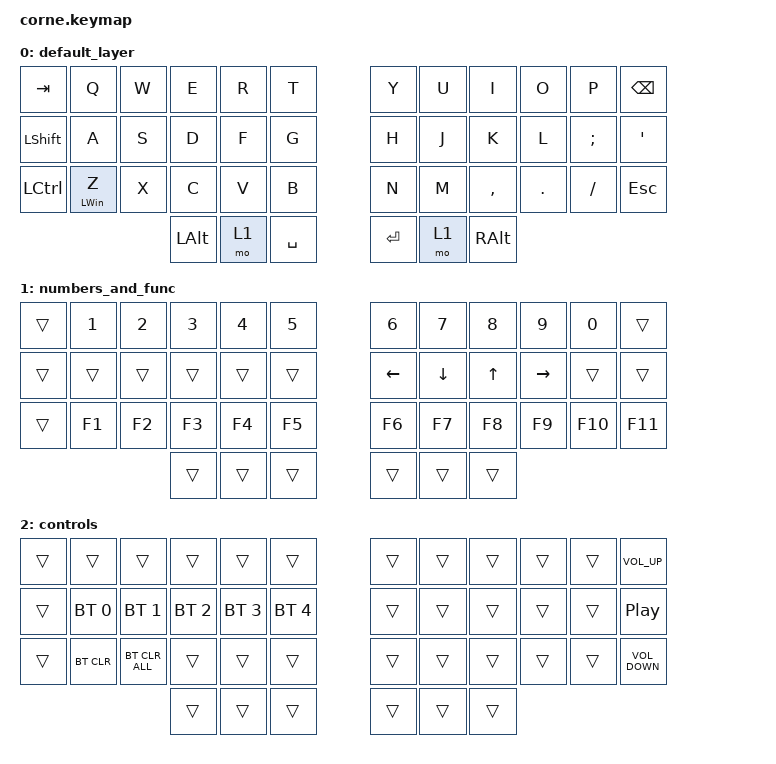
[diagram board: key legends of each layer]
/*
 * Copyright (c) 2020 The ZMK Contributors
 *
 * SPDX-License-Identifier: MIT
 */

#include <behaviors.dtsi>
#include <dt-bindings/zmk/bt.h>
#include <dt-bindings/zmk/keys.h>

/ {
    combos {
        compatible = "zmk,combos";

        combo_f12 {
            bindings = <&kp F12>;
            key-positions = <34 35>;
            timeout-ms = <50>;
            layers = <1>;
        };

        combo_left_bracket_and_curly {
            bindings = <&mt RA(LBKT) RA(APOSTROPHE)>;
            key-positions = <19 20>;
            timeout-ms = <50>;
        };

        combo_right_bracket_and_curly {
            bindings = <&mt RA(RBKT) RA(BACKSLASH)>;
            key-positions = <21 20>;
            timeout-ms = <50>;
        };

        combo_delete {
            bindings = <&kp DEL>;
            key-positions = <10 11>;
            timeout-ms = <50>;
        };

        combo_left_paren {
            bindings = <&kp LS(N8)>;
            key-positions = <7 8>;
            timeout-ms = <50>;
        };

        combo_right_paren {
            bindings = <&kp LS(N9)>;
            key-positions = <9 8>;
            timeout-ms = <50>;
        };

        combo_layer_3 {
            bindings = <&mo 2>;
            key-positions = <37 40>;
            timeout-ms = <50>;
        };

        combo_hyphen_and_underscore {
            bindings = <&mt QUESTION SLASH>;
            key-positions = <18 19>;
            timeout-ms = <50>;
        };

        combo_equal_and_plus {
            bindings = <&mt LS(NUMBER_0) RIGHT_BRACKET>;
            key-positions = <6 7>;
            timeout-ms = <50>;
        };

        combo_home {
            bindings = <&kp HOME>;
            key-positions = <22 23>;
            timeout-ms = <50>;
        };

        combo_end {
            bindings = <&kp END>;
            key-positions = <35 34>;
            timeout-ms = <50>;
        };

        combo_page_down {
            bindings = <&kp PAGE_DOWN>;
            key-positions = <28 29>;
            timeout-ms = <50>;
        };

        combo_page_up {
            bindings = <&kp PAGE_UP>;
            key-positions = <17 16>;
            timeout-ms = <50>;
        };

        combo_insert {
            bindings = <&kp INSERT>;
            key-positions = <15 16>;
            timeout-ms = <50>;
        };

        combo_pause {
            bindings = <&kp PAUSE_BREAK>;
            key-positions = <28 27>;
            timeout-ms = <50>;
        };

        combo_esc {
            bindings = <&kp ESCAPE>;
            key-positions = <0 1>;
            timeout-ms = <50>;
        };

        combo_semicolon_and_colon {
            bindings = <&mt GREATER_THAN LESS_THAN>;
            key-positions = <22 21>;
            timeout-ms = <50>;
        };

        combo_exclamation_and_bar {
            bindings = <&mt RA(NUMBER_1) LS(NUMBER_1)>;
            key-positions = <1 2>;
            timeout-ms = <50>;
        };

        combo_at_symbol {
            bindings = <&mt RA(NUMBER_2) LS(NUMBER_2)>;
            key-positions = <2 3>;
        };

        combo_sharp_and_double_quotes {
            bindings = <&mt LS(NUMBER_3) RA(NUMBER_3)>;
            key-positions = <3 4>;
            timeout-ms = <50>;
        };

        combo_dollar_and_tilde {
            bindings = <&mt RA(NUMBER_4) LS(NUMBER_4)>;
            key-positions = <5 4>;
            timeout-ms = <50>;
        };

        combo_ptrint_screen {
            bindings = <&kp PRINTSCREEN>;
            key-positions = <11 23>;
            timeout-ms = <50>;
        };

        combo_percent_ampersand {
            bindings = <&mt LS(NUMBER_6) LS(NUMBER_5)>;
            key-positions = <30 31>;
            timeout-ms = <50>;
        };

        combo_questionmarks {
            bindings = <&mt LS(EQUAL) LS(UNDERSCORE)>;
            key-positions = <13 14>;
            timeout-ms = <25>;
        };

        combo_forward_back_slash {
            bindings = <&mt RA(GRAVE) LS(NUMBER_7)>;
            key-positions = <31 32>;
            timeout-ms = <50>;
        };

        combo_apostr_and_back {
            bindings = <&mt LEFT_BRACKET MINUS>;
            key-positions = <32 33>;
            timeout-ms = <50>;
        };

        combo_squared {
            bindings = <&kp LEFT_BRACE>;
            key-positions = <34 33>;
            timeout-ms = <50>;
        };

        combo_capslock {
            bindings = <&kp CAPSLOCK>;
            key-positions = <12 13>;
        };
    };

    keymap {
        compatible = "zmk,keymap";

        default_layer {
            // -----------------------------------------------------------------------------------------
            // |  TAB |  Q  |  W  |  E  |  R  |  T  |   |  Y  |  U   |  I  |  O  |  P  | BKSP |
            // | CTRL |  A  |  S  |  D  |  F  |  G  |   |  H  |  J   |  K  |  L  |  ;  |  '   |
            // | SHFT |  Z  |  X  |  C  |  V  |  B  |   |  N  |  M   |  ,  |  .  |  /  | ESC  |
            //                    | GUI | LWR | SPC |   | ENT | RSE  | ALT |

            bindings = <
&kp TAB           &kp Q           &kp W  &kp E         &kp R  &kp T        &kp Y    &kp U  &kp I      &kp O    &kp P          &kp BSPC
&kp LEFT_SHIFT    &kp A           &kp S  &kp D         &kp F  &kp G        &kp H    &kp J  &kp K      &kp L    &kp SEMICOLON  &kp APOS
&kp LEFT_CONTROL  &mt LEFT_WIN Z  &kp X  &kp C         &kp V  &kp B        &kp N    &kp M  &kp COMMA  &kp DOT  &kp FSLH       &kp ESCAPE
                                         &kp LEFT_ALT  &mo 1  &kp SPACE    &kp RET  &mo 1  &kp RALT
            >;
        };

        numbers_and_func {
            // -----------------------------------------------------------------------------------------
            // |  TAB |  1  |  2  |  3  |  4  |  5  |   |  6  |  7  |  8  |  9  |  0  | BKSP |
            // | BTCLR| BT1 | BT2 | BT3 | BT4 | BT5 |   | LFT | DWN |  UP | RGT |     |      |
            // | SHFT |     |     |     |     |     |   |     |     |     |     |     |      |
            //                    | GUI |     | SPC |   | ENT |     | ALT |

            bindings = <
&trans  &kp N1  &kp N2  &kp N3  &kp N4  &kp N5    &kp N6          &kp N7          &kp N8        &kp N9           &kp N0   &trans
&trans  &trans  &trans  &trans  &trans  &trans    &kp LEFT_ARROW  &kp DOWN_ARROW  &kp UP_ARROW  &kp RIGHT_ARROW  &trans   &trans
&trans  &kp F1  &kp F2  &kp F3  &kp F4  &kp F5    &kp F6          &kp F7          &kp F8        &kp F9           &kp F10  &kp F11
                        &trans  &trans  &trans    &trans          &trans          &trans
            >;
        };

        controls {
            bindings = <
&trans  &trans        &trans          &trans        &trans        &trans          &trans  &trans  &trans  &trans  &trans  &kp C_VOLUME_UP
&trans  &bt BT_SEL 0  &bt BT_SEL 1    &bt BT_SEL 2  &bt BT_SEL 3  &bt BT_SEL 4    &trans  &trans  &trans  &trans  &trans  &kp C_PLAY_PAUSE
&trans  &bt BT_CLR    &bt BT_CLR_ALL  &trans        &trans        &trans          &trans  &trans  &trans  &trans  &trans  &kp C_VOLUME_DOWN
                                      &trans        &trans        &trans          &trans  &trans  &trans
            >;
        };
    };
};
